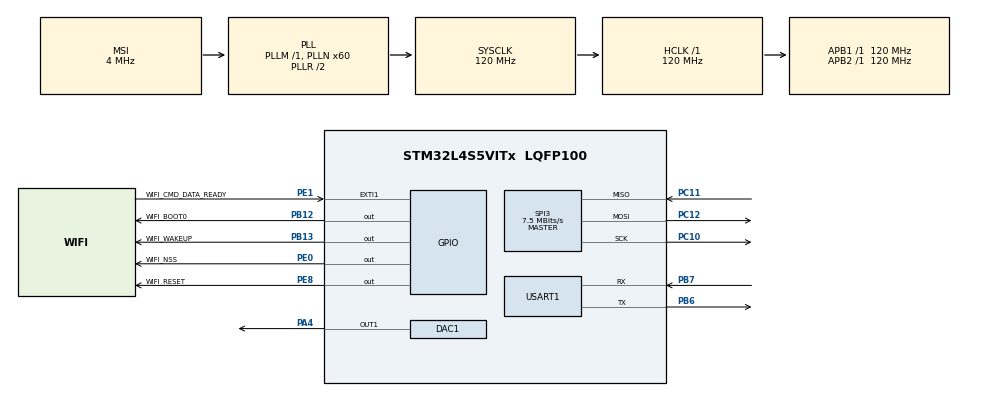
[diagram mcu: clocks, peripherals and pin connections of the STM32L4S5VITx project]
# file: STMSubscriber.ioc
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DAC1.DAC_Trigger-DAC_OUT1=DAC_TRIGGER_T2_TRGO
Dma.DAC1_CH1.0.Direction=DMA_MEMORY_TO_PERIPH
Dma.DAC1_CH1.0.EventEnable=DISABLE
Dma.DAC1_CH1.0.Instance=DMA1_Channel1
Dma.DAC1_CH1.0.MemDataAlignment=DMA_MDATAALIGN_BYTE
Dma.DAC1_CH1.0.MemInc=DMA_MINC_ENABLE
Dma.DAC1_CH1.0.Mode=DMA_NORMAL
Dma.DAC1_CH1.0.PeriphDataAlignment=DMA_PDATAALIGN_HALFWORD
Dma.DAC1_CH1.0.PeriphInc=DMA_PINC_DISABLE
Dma.DAC1_CH1.0.Polarity=HAL_DMAMUX_REQUEST_GEN_RISING
Dma.DAC1_CH1.0.Priority=DMA_PRIORITY_LOW
Dma.DAC1_CH1.0.RequestNumber=1
Dma.DAC1_CH1.0.SignalID=NONE
Dma.DAC1_CH1.0.SyncEnable=DISABLE
Dma.DAC1_CH1.0.SyncPolarity=HAL_DMAMUX_SYNC_NO_EVENT
Dma.DAC1_CH1.0.SyncRequestNumber=1
Dma.DAC1_CH1.0.SyncSignalID=NONE
Dma.Request0=DAC1_CH1
Mcu.Family=STM32L4
Mcu.Name=STM32L4S5VITx
Mcu.Package=LQFP100
NVIC.DMA1_Channel1_IRQn=true\:0\:0\:false\:false\:true\:false\:true\:true
NVIC.EXTI1_IRQn=true\:0\:0\:false\:false\:true\:true\:true\:true
NVIC.PriorityGroup=NVIC_PRIORITYGROUP_4
PA4.Signal=COMP_DAC11_group
PB12.GPIO_Label=WIFI_BOOT0
PB12.Signal=GPIO_Output
PB13.GPIO_Label=WIFI_WAKEUP
PB13.Signal=GPIO_Output
PB6.Mode=Asynchronous
PB6.Signal=USART1_TX
PB7.Mode=Asynchronous
PB7.Signal=USART1_RX
PC10.Mode=Full_Duplex_Master
PC10.Signal=SPI3_SCK
PC11.Mode=Full_Duplex_Master
PC11.Signal=SPI3_MISO
PC12.Mode=Full_Duplex_Master
PC12.Signal=SPI3_MOSI
PE0.GPIO_Label=WIFI_NSS
PE0.Signal=GPIO_Output
PE1.GPIO_Label=WIFI_CMD_DATA_READY
PE1.Signal=GPXTI1
PE8.GPIO_Label=WIFI_RESET
PE8.Signal=GPIO_Output
ProjectManager.HeapSize=0x200
ProjectManager.StackSize=0x400
ProjectManager.TargetToolchain=STM32CubeIDE
RCC.ADCFreq_Value=48000000
RCC.AHBFreq_Value=120000000
RCC.APB1Freq_Value=120000000
RCC.APB1TimFreq_Value=120000000
RCC.APB2Freq_Value=120000000
RCC.APB2TimFreq_Value=120000000
RCC.CortexFreq_Value=120000000
RCC.HCLKFreq_Value=120000000
RCC.HSE_VALUE=8000000
RCC.HSI48_VALUE=48000000
RCC.HSI_VALUE=16000000
RCC.LSE_VALUE=32768
RCC.MSI_VALUE=4000000
RCC.PLLN=60
RCC.PLLSAI1N=24
RCC.SYSCLKFreq_VALUE=120000000
RCC.SYSCLKSource=RCC_SYSCLKSOURCE_PLLCLK
RCC.USBFreq_Value=48000000
RCC.VCOOutputFreq_Value=240000000
SH.COMP_DAC11_group.0=DAC1_OUT1,DAC_OUT1
SPI3.BaudRatePrescaler=SPI_BAUDRATEPRESCALER_16
SPI3.CalculateBaudRate=7.5 MBits/s
SPI3.DataSize=SPI_DATASIZE_16BIT
SPI3.Direction=SPI_DIRECTION_2LINES
SPI3.Mode=SPI_MODE_MASTER
SPI3.VirtualType=VM_MASTER
TIM2.Period=15000
TIM2.TIM_MasterOutputTrigger=TIM_TRGO_UPDATE
USART1.VirtualMode-Asynchronous=VM_ASYNC
VP_TIM2_VS_ClockSourceINT.Mode=Internal
board=B-L4S5I-IOT01A

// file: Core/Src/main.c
/* USER CODE BEGIN Header */
/**
  ******************************************************************************
  * @file           : main.c
  * @brief          : Main program body
  ******************************************************************************
  * @attention
  *
  * Copyright (c) 2025 STMicroelectronics.
  * All rights reserved.
  *
  * This software is licensed under terms that can be found in the LICENSE file
  * in the root directory of this software component.
  * If no LICENSE file comes with this software, it is provided AS-IS.
  *
  ******************************************************************************
  */
/* USER CODE END Header */
#include "main.h"

/* USER CODE BEGIN Includes */
#include "wifi.h"
#include "sound_wave.h"
#include <string.h>
/* USER CODE END Includes */

/* USER CODE BEGIN PD */
#define TX_BUFFER_SIZE 2048
#define RX_BUFFER_SIZE 2048
#define TX_TIMEOUT 2000
#define RX_TIMEOUT 2000
/* USER CODE END PD */

DAC_HandleTypeDef hdac1;
DMA_HandleTypeDef hdma_dac1_ch1;

SPI_HandleTypeDef hspi3;

TIM_HandleTypeDef htim2;

UART_HandleTypeDef huart1;

/* USER CODE BEGIN PV */

uint8_t txBuffer[TX_BUFFER_SIZE];
uint8_t rxBuffer[RX_BUFFER_SIZE];

WIFI_HandleTypeDef hwifi;

char ssid[] = "Demacia";
char passphrase[] = "flashqmastery7r";

__IO FlagStatus cmdDataReady = 0;
/* USER CODE END PV */

void SystemClock_Config(void);
static void MX_GPIO_Init(void);
static void MX_DMA_Init(void);
static void MX_SPI3_Init(void);
static void MX_USART1_UART_Init(void);
static void MX_DAC1_Init(void);
static void MX_TIM2_Init(void);

int main(void)
{

  /* MCU Configuration--------------------------------------------------------*/

  /* Reset of all peripherals, Initializes the Flash interface and the Systick. */
  HAL_Init();

  /* Configure the system clock */
  SystemClock_Config();

  /* Initialize all configured peripherals */
  MX_GPIO_Init();
  MX_DMA_Init();
  MX_SPI3_Init();
  MX_USART1_UART_Init();
  MX_DAC1_Init();
  MX_TIM2_Init();
  /* USER CODE BEGIN 2 */

  hwifi.handle = &hspi3;
  hwifi.ssid = ssid;
  hwifi.passphrase = passphrase;
  hwifi.securityType = WPA_MIXED;
  hwifi.DHCP = SET;
  hwifi.ipStatus = IP_V4;
  hwifi.transportProtocol = WIFI_TCP_PROTOCOL;
  hwifi.port = 1883;

  // MQTT stuff
  sprintf(hwifi.mqtt.subscribeTopic, "dac");
  sprintf(hwifi.mqtt.id, "dacdacdacdacdacdacdacda");
  sprintf(hwifi.remoteIpAddress, "10.74.242.184");

  WIFI_Init(&hwifi);
  WIFI_JoinNetwork(&hwifi);
  WIFI_MQTTClientInit(&hwifi);
  char terminal[100];
  /* USER CODE END 2 */

  /* Infinite loop */
  while (1)
  {

    /* USER CODE BEGIN 3 */
	  HAL_Delay(200);
	  WIFI_MQTTListen(&hwifi);
	  if (strcmp(wifiRxBuffer, WIFI_MSG_OK)) {
		  sprintf(terminal, wifiRxBuffer);
		  int len = strlen(terminal);
		  HAL_UART_Transmit(&huart1, (uint8_t*) terminal, len, 100);
		  HAL_TIM_Base_Start(&htim2);
		  HAL_DAC_Start_DMA(&hdac1, DAC_CHANNEL_1, (uint32_t*) wave_a, 16143, DAC_ALIGN_8B_R);
	  }
  }
  /* USER CODE END 3 */
}

void SystemClock_Config(void)
{
  RCC_OscInitTypeDef RCC_OscInitStruct = {0};
  RCC_ClkInitTypeDef RCC_ClkInitStruct = {0};

  /** Configure the main internal regulator output voltage
  */
  if (HAL_PWREx_ControlVoltageScaling(PWR_REGULATOR_VOLTAGE_SCALE1_BOOST) != HAL_OK)
  {
    Error_Handler();
  }

  /** Initializes the RCC Oscillators according to the specified parameters
  * in the RCC_OscInitTypeDef structure.
  */
  RCC_OscInitStruct.OscillatorType = RCC_OSCILLATORTYPE_MSI;
  RCC_OscInitStruct.MSIState = RCC_MSI_ON;
  RCC_OscInitStruct.MSICalibrationValue = 0;
  RCC_OscInitStruct.MSIClockRange = RCC_MSIRANGE_6;
  RCC_OscInitStruct.PLL.PLLState = RCC_PLL_ON;
  RCC_OscInitStruct.PLL.PLLSource = RCC_PLLSOURCE_MSI;
  RCC_OscInitStruct.PLL.PLLM = 1;
  RCC_OscInitStruct.PLL.PLLN = 60;
  RCC_OscInitStruct.PLL.PLLP = RCC_PLLP_DIV2;
  RCC_OscInitStruct.PLL.PLLQ = RCC_PLLQ_DIV2;
  RCC_OscInitStruct.PLL.PLLR = RCC_PLLR_DIV2;
  if (HAL_RCC_OscConfig(&RCC_OscInitStruct) != HAL_OK)
  {
    Error_Handler();
  }

  /** Initializes the CPU, AHB and APB buses clocks
  */
  RCC_ClkInitStruct.ClockType = RCC_CLOCKTYPE_HCLK|RCC_CLOCKTYPE_SYSCLK
                              |RCC_CLOCKTYPE_PCLK1|RCC_CLOCKTYPE_PCLK2;
  RCC_ClkInitStruct.SYSCLKSource = RCC_SYSCLKSOURCE_PLLCLK;
  RCC_ClkInitStruct.AHBCLKDivider = RCC_SYSCLK_DIV1;
  RCC_ClkInitStruct.APB1CLKDivider = RCC_HCLK_DIV1;
  RCC_ClkInitStruct.APB2CLKDivider = RCC_HCLK_DIV1;

  if (HAL_RCC_ClockConfig(&RCC_ClkInitStruct, FLASH_LATENCY_5) != HAL_OK)
  {
    Error_Handler();
  }
}

static void MX_DAC1_Init(void)
{

  DAC_ChannelConfTypeDef sConfig = {0};

  /** DAC Initialization
  */
  hdac1.Instance = DAC1;
  if (HAL_DAC_Init(&hdac1) != HAL_OK)
  {
    Error_Handler();
  }

  /** DAC channel OUT1 config
  */
  sConfig.DAC_SampleAndHold = DAC_SAMPLEANDHOLD_DISABLE;
  sConfig.DAC_Trigger = DAC_TRIGGER_T2_TRGO;
  sConfig.DAC_HighFrequency = DAC_HIGH_FREQUENCY_INTERFACE_MODE_ABOVE_80MHZ;
  sConfig.DAC_OutputBuffer = DAC_OUTPUTBUFFER_ENABLE;
  sConfig.DAC_ConnectOnChipPeripheral = DAC_CHIPCONNECT_DISABLE;
  sConfig.DAC_UserTrimming = DAC_TRIMMING_FACTORY;
  if (HAL_DAC_ConfigChannel(&hdac1, &sConfig, DAC_CHANNEL_1) != HAL_OK)
  {
    Error_Handler();
  }

}

static void MX_SPI3_Init(void)
{

  /* SPI3 parameter configuration*/
  hspi3.Instance = SPI3;
  hspi3.Init.Mode = SPI_MODE_MASTER;
  hspi3.Init.Direction = SPI_DIRECTION_2LINES;
  hspi3.Init.DataSize = SPI_DATASIZE_16BIT;
  hspi3.Init.CLKPolarity = SPI_POLARITY_LOW;
  hspi3.Init.CLKPhase = SPI_PHASE_1EDGE;
  hspi3.Init.NSS = SPI_NSS_SOFT;
  hspi3.Init.BaudRatePrescaler = SPI_BAUDRATEPRESCALER_16;
  hspi3.Init.FirstBit = SPI_FIRSTBIT_MSB;
  hspi3.Init.TIMode = SPI_TIMODE_DISABLE;
  hspi3.Init.CRCCalculation = SPI_CRCCALCULATION_DISABLE;
  hspi3.Init.CRCPolynomial = 7;
  hspi3.Init.CRCLength = SPI_CRC_LENGTH_DATASIZE;
  hspi3.Init.NSSPMode = SPI_NSS_PULSE_ENABLE;
  if (HAL_SPI_Init(&hspi3) != HAL_OK)
  {
    Error_Handler();
  }

}

static void MX_TIM2_Init(void)
{

  TIM_ClockConfigTypeDef sClockSourceConfig = {0};
  TIM_MasterConfigTypeDef sMasterConfig = {0};

  htim2.Instance = TIM2;
  htim2.Init.Prescaler = 0;
  htim2.Init.CounterMode = TIM_COUNTERMODE_UP;
  htim2.Init.Period = 15000;
  htim2.Init.ClockDivision = TIM_CLOCKDIVISION_DIV1;
  htim2.Init.AutoReloadPreload = TIM_AUTORELOAD_PRELOAD_DISABLE;
  if (HAL_TIM_Base_Init(&htim2) != HAL_OK)
  {
    Error_Handler();
  }
  sClockSourceConfig.ClockSource = TIM_CLOCKSOURCE_INTERNAL;
  if (HAL_TIM_ConfigClockSource(&htim2, &sClockSourceConfig) != HAL_OK)
  {
    Error_Handler();
  }
  sMasterConfig.MasterOutputTrigger = TIM_TRGO_UPDATE;
  sMasterConfig.MasterSlaveMode = TIM_MASTERSLAVEMODE_DISABLE;
  if (HAL_TIMEx_MasterConfigSynchronization(&htim2, &sMasterConfig) != HAL_OK)
  {
    Error_Handler();
  }

}

static void MX_USART1_UART_Init(void)
{

  huart1.Instance = USART1;
  huart1.Init.BaudRate = 115200;
  huart1.Init.WordLength = UART_WORDLENGTH_8B;
  huart1.Init.StopBits = UART_STOPBITS_1;
  huart1.Init.Parity = UART_PARITY_NONE;
  huart1.Init.Mode = UART_MODE_TX_RX;
  huart1.Init.HwFlowCtl = UART_HWCONTROL_NONE;
  huart1.Init.OverSampling = UART_OVERSAMPLING_16;
  huart1.Init.OneBitSampling = UART_ONE_BIT_SAMPLE_DISABLE;
  huart1.Init.ClockPrescaler = UART_PRESCALER_DIV1;
  huart1.AdvancedInit.AdvFeatureInit = UART_ADVFEATURE_NO_INIT;
  if (HAL_UART_Init(&huart1) != HAL_OK)
  {
    Error_Handler();
  }
  if (HAL_UARTEx_SetTxFifoThreshold(&huart1, UART_TXFIFO_THRESHOLD_1_8) != HAL_OK)
  {
    Error_Handler();
  }
  if (HAL_UARTEx_SetRxFifoThreshold(&huart1, UART_RXFIFO_THRESHOLD_1_8) != HAL_OK)
  {
    Error_Handler();
  }
  if (HAL_UARTEx_DisableFifoMode(&huart1) != HAL_OK)
  {
    Error_Handler();
  }

}

static void MX_DMA_Init(void)
{

  /* DMA controller clock enable */
  __HAL_RCC_DMAMUX1_CLK_ENABLE();
  __HAL_RCC_DMA1_CLK_ENABLE();

  /* DMA interrupt init */
  /* DMA1_Channel1_IRQn interrupt configuration */
  HAL_NVIC_SetPriority(DMA1_Channel1_IRQn, 0, 0);
  HAL_NVIC_EnableIRQ(DMA1_Channel1_IRQn);

}

static void MX_GPIO_Init(void)
{
  GPIO_InitTypeDef GPIO_InitStruct = {0};

  /* GPIO Ports Clock Enable */
  __HAL_RCC_GPIOA_CLK_ENABLE();
  __HAL_RCC_GPIOE_CLK_ENABLE();
  __HAL_RCC_GPIOB_CLK_ENABLE();
  __HAL_RCC_GPIOC_CLK_ENABLE();

  /*Configure GPIO pin Output Level */
  HAL_GPIO_WritePin(GPIOE, WIFI_RESET_Pin|WIFI_NSS_Pin, GPIO_PIN_RESET);

  /*Configure GPIO pin Output Level */
  HAL_GPIO_WritePin(GPIOB, WIFI_BOOT0_Pin|WIFI_WAKEUP_Pin, GPIO_PIN_RESET);

  /*Configure GPIO pins : WIFI_RESET_Pin WIFI_NSS_Pin */
  GPIO_InitStruct.Pin = WIFI_RESET_Pin|WIFI_NSS_Pin;
  GPIO_InitStruct.Mode = GPIO_MODE_OUTPUT_PP;
  GPIO_InitStruct.Pull = GPIO_NOPULL;
  GPIO_InitStruct.Speed = GPIO_SPEED_FREQ_LOW;
  HAL_GPIO_Init(GPIOE, &GPIO_InitStruct);

  /*Configure GPIO pins : WIFI_BOOT0_Pin WIFI_WAKEUP_Pin */
  GPIO_InitStruct.Pin = WIFI_BOOT0_Pin|WIFI_WAKEUP_Pin;
  GPIO_InitStruct.Mode = GPIO_MODE_OUTPUT_PP;
  GPIO_InitStruct.Pull = GPIO_NOPULL;
  GPIO_InitStruct.Speed = GPIO_SPEED_FREQ_LOW;
  HAL_GPIO_Init(GPIOB, &GPIO_InitStruct);

  /*Configure GPIO pin : WIFI_CMD_DATA_READY_Pin */
  GPIO_InitStruct.Pin = WIFI_CMD_DATA_READY_Pin;
  GPIO_InitStruct.Mode = GPIO_MODE_IT_RISING;
  GPIO_InitStruct.Pull = GPIO_NOPULL;
  HAL_GPIO_Init(WIFI_CMD_DATA_READY_GPIO_Port, &GPIO_InitStruct);

  /* EXTI interrupt init*/
  HAL_NVIC_SetPriority(EXTI1_IRQn, 0, 0);
  HAL_NVIC_EnableIRQ(EXTI1_IRQn);

}

/* USER CODE BEGIN 4 */
void HAL_GPIO_EXTI_Callback(uint16_t GPIO_Pin){
	if (GPIO_Pin == WIFI_CMD_DATA_READY_Pin){
		cmdDataReady = HAL_GPIO_ReadPin(WIFI_CMD_DATA_READY_GPIO_Port, WIFI_CMD_DATA_READY_Pin);
	}
}

void HAL_DAC_ConvCpltCallbackCh1 (DAC_HandleTypeDef * hdac){
	if (hdac == &hdac1) {
		HAL_DAC_Stop_DMA(&hdac1, DAC_CHANNEL_1);
	}
}
/* USER CODE END 4 */

void Error_Handler(void)
{
  __disable_irq();
  while (1)
  {
  }
}
